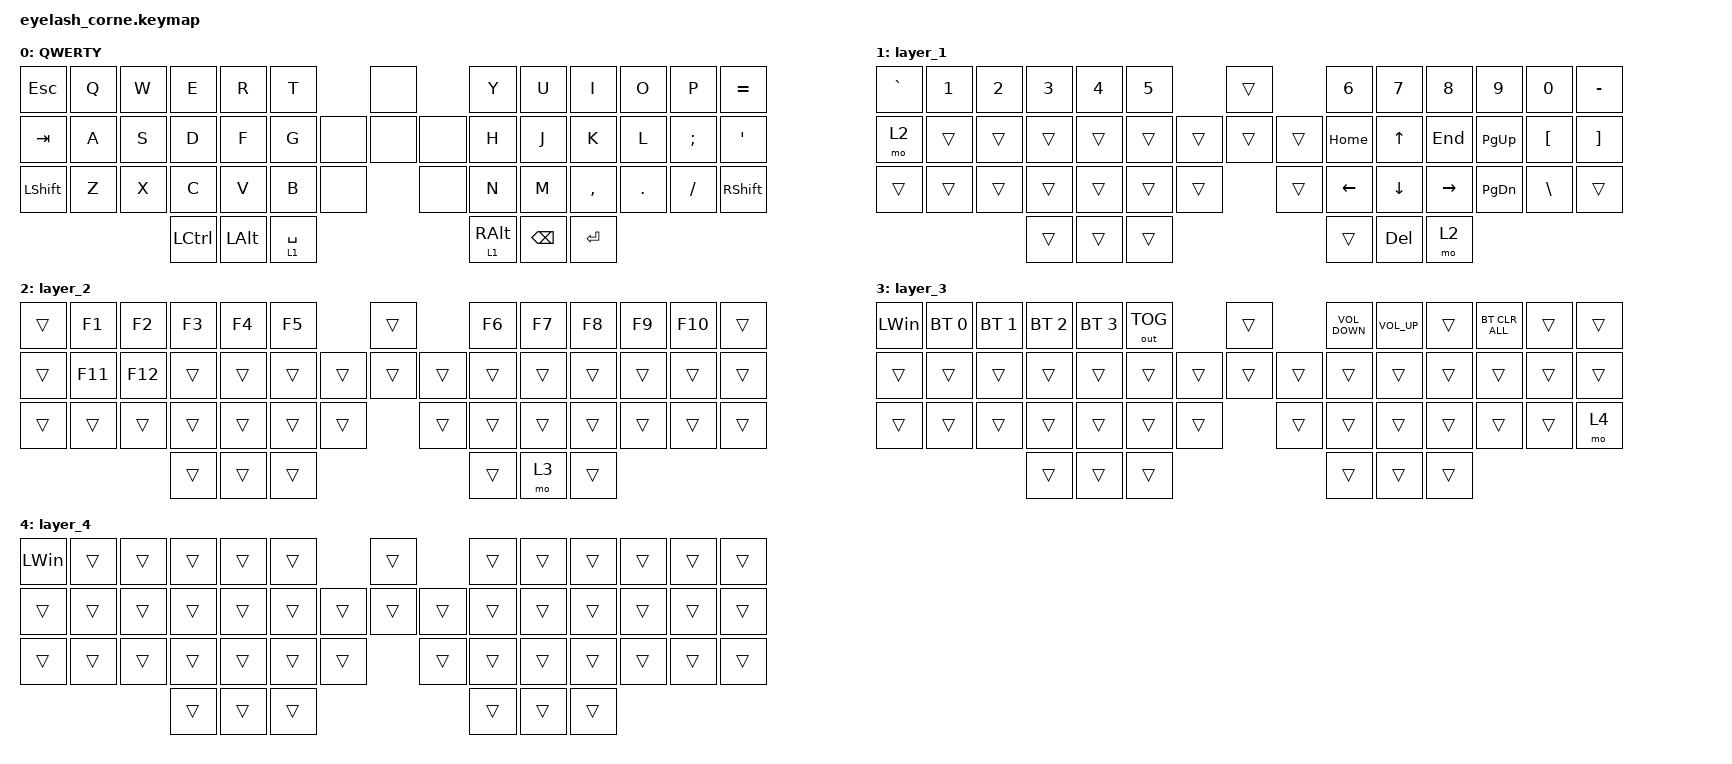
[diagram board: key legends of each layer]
#define ZMK_POINTING_DEFAULT_MOVE_VAL 1200  // 600
#define ZMK_POINTING_DEFAULT_SCRL_VAL 25   // 10

#include <input/processors.dtsi>
#include <zephyr/dt-bindings/input/input-event-codes.h>
#include <behaviors.dtsi>
#include <dt-bindings/zmk/bt.h>
#include <dt-bindings/zmk/keys.h>
#include <dt-bindings/zmk/outputs.h>
#include <dt-bindings/zmk/pointing.h>
#include <dt-bindings/zmk/rgb.h>

&mmv_input_listener { input-processors = <&zip_xy_scaler 2 1>; };

&msc_input_listener { input-processors = <&zip_scroll_scaler 2 1>; };

&msc {
    acceleration-exponent = <1>;      // 0
    time-to-max-speed-ms = <100>;       // 300
    delay-ms = <0>;                   // 0
};

&mmv {
    time-to-max-speed-ms = <500>;
    acceleration-exponent = <1>;
    trigger-period-ms = <16>;
};

&soft_off { hold-time-ms = <2000>; };

/ {
    behaviors {
        td0: td0 {
            compatible = "zmk,behavior-tap-dance";
            display-name = "Shift/Caps Lock Tap Dance";
            #binding-cells = <0>;
            bindings = <&kp LEFT_SHIFT>, <&kp CAPS>;
        };

        lt_RALT: lt_RALT {
            compatible = "zmk,behavior-hold-tap";
            label = "LT_RALT";
            bindings = <&mo>, <&kp>;

            #binding-cells = <2>;
            tapping-term-ms = <110>;
            flavor = "balanced";
            retro-tap;
        };

        lt_Space: lt_Space {
            compatible = "zmk,behavior-hold-tap";
            label = "LT_SPACE";
            bindings = <&mo>, <&kp>;

            #binding-cells = <2>;
            tapping-term-ms = <160>;
            flavor = "tap-preferred";
            retro-tap;
        };
    };

    rgb_encoder: rgb_encoder {
        compatible = "zmk,behavior-sensor-rotate";
        #sensor-binding-cells = <0>;
        bindings = <&rgb_ug RGB_BRI>, <&rgb_ug RGB_BRD>;
    };

    scroll_encoder: scroll_encoder {
        compatible = "zmk,behavior-sensor-rotate";
        #sensor-binding-cells = <0>;
        bindings = <&msc SCRL_DOWN>, <&msc SCRL_UP>;

        tap-ms = <100>;
    };

    combos {
        compatible = "zmk,combos";

        softoff {
            bindings = <&soft_off>;
            key-positions = <1 15 29>;
        };
    };

    keymap {
        compatible = "zmk,keymap";

        default_layer {
            display-name = "QWERTY";
            bindings = <
&kp ESCAPE  &kp Q  &kp W  &kp E      &kp R     &kp T                              &none         &kp Y            &kp U          &kp I      &kp O    &kp P     &kp EQUAL
&kp TAB     &kp A  &kp S  &kp D      &kp F     &kp G                       &none  &none  &none  &kp H            &kp J          &kp K      &kp L    &kp SEMI  &kp SQT
&kp LSHIFT  &kp Z  &kp X  &kp C      &kp V     &kp B              &none           &none         &kp N            &kp M          &kp COMMA  &kp DOT  &kp FSLH  &kp RSHIFT
                          &kp LCTRL  &kp LALT  &lt_Space 1 SPACE                                &lt_RALT 1 RALT  &kp BACKSPACE  &kp ENTER
            >;
        };

        layer_1 {
            bindings = <
&kp GRAVE  &kp N1  &kp N2  &kp N3  &kp N4  &kp N5                    &trans          &kp N6    &kp N7    &kp N8     &kp N9         &kp N0            &kp MINUS
&mo 2      &trans  &trans  &trans  &trans  &trans            &trans  &trans  &trans  &kp HOME  &kp UP    &kp END    &kp PAGE_UP    &kp LEFT_BRACKET  &kp RIGHT_BRACKET
&trans     &trans  &trans  &trans  &trans  &trans  &trans            &trans          &kp LEFT  &kp DOWN  &kp RIGHT  &kp PAGE_DOWN  &kp BACKSLASH     &trans
                           &trans  &trans  &trans                                    &trans    &kp DEL   &mo 2
            >;
        };

        layer_2 {
            bindings = <
&trans  &kp F1   &kp F2   &kp F3  &kp F4  &kp F5                    &trans          &kp F6  &kp F7  &kp F8  &kp F9  &kp F10  &trans
&trans  &kp F11  &kp F12  &trans  &trans  &trans            &trans  &trans  &trans  &trans  &trans  &trans  &trans  &trans   &trans
&trans  &trans   &trans   &trans  &trans  &trans  &trans            &trans          &trans  &trans  &trans  &trans  &trans   &trans
                          &trans  &trans  &trans                                    &trans  &mo 3   &trans
            >;
        };

        layer_3 {
            bindings = <
&kp LWIN  &bt BT_SEL 0  &bt BT_SEL 1  &bt BT_SEL 2  &bt BT_SEL 3  &out OUT_TOG                    &trans          &kp C_VOLUME_DOWN  &kp C_VOLUME_UP  &trans  &bt BT_CLR_ALL  &trans  &trans
&trans    &trans        &trans        &trans        &trans        &trans                  &trans  &trans  &trans  &trans             &trans           &trans  &trans          &trans  &trans
&trans    &trans        &trans        &trans        &trans        &trans        &trans            &trans          &trans             &trans           &trans  &trans          &trans  &mo 4
                                      &trans        &trans        &trans                                          &trans             &trans           &trans
            >;
        };

        layer_4 {
            bindings = <
&kp LWIN  &trans  &trans  &trans  &trans  &trans                    &trans          &trans  &trans  &trans  &trans  &trans  &trans
&trans    &trans  &trans  &trans  &trans  &trans            &trans  &trans  &trans  &trans  &trans  &trans  &trans  &trans  &trans
&trans    &trans  &trans  &trans  &trans  &trans  &trans            &trans          &trans  &trans  &trans  &trans  &trans  &trans
                          &trans  &trans  &trans                                    &trans  &trans  &trans
            >;
        };
    };
};
